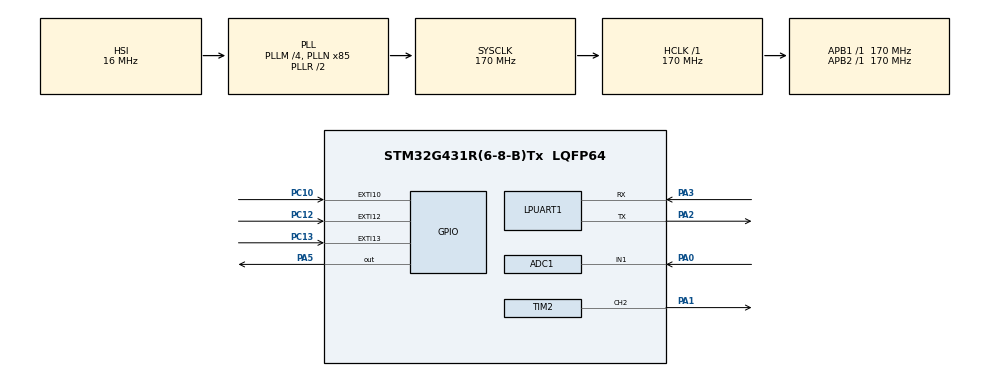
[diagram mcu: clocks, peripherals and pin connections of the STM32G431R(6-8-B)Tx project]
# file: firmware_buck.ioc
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ADC1.Channel-0\#ChannelRegularConversion=ADC_CHANNEL_1
ADC1.DMAContinuousRequests=ENABLE
ADC1.ExternalTrigConv=ADC_EXTERNALTRIG_T2_TRGO
ADC1.NbrOfConversionFlag=1
ADC1.OffsetNumber-0\#ChannelRegularConversion=ADC_OFFSET_NONE
ADC1.Rank-0\#ChannelRegularConversion=1
ADC1.SamplingTime-0\#ChannelRegularConversion=ADC_SAMPLETIME_2CYCLES_5
ADC1.master=1
Dma.ADC1.0.Direction=DMA_PERIPH_TO_MEMORY
Dma.ADC1.0.EventEnable=DISABLE
Dma.ADC1.0.Instance=DMA1_Channel1
Dma.ADC1.0.MemDataAlignment=DMA_MDATAALIGN_HALFWORD
Dma.ADC1.0.MemInc=DMA_MINC_ENABLE
Dma.ADC1.0.Mode=DMA_CIRCULAR
Dma.ADC1.0.PeriphDataAlignment=DMA_PDATAALIGN_HALFWORD
Dma.ADC1.0.PeriphInc=DMA_PINC_DISABLE
Dma.ADC1.0.Polarity=HAL_DMAMUX_REQ_GEN_RISING
Dma.ADC1.0.Priority=DMA_PRIORITY_LOW
Dma.ADC1.0.RequestNumber=1
Dma.ADC1.0.SignalID=NONE
Dma.ADC1.0.SyncEnable=DISABLE
Dma.ADC1.0.SyncPolarity=HAL_DMAMUX_SYNC_NO_EVENT
Dma.ADC1.0.SyncRequestNumber=1
Dma.ADC1.0.SyncSignalID=NONE
Dma.LPUART1_TX.2.Direction=DMA_MEMORY_TO_PERIPH
Dma.LPUART1_TX.2.EventEnable=DISABLE
Dma.LPUART1_TX.2.Instance=DMA1_Channel3
Dma.LPUART1_TX.2.MemDataAlignment=DMA_MDATAALIGN_BYTE
Dma.LPUART1_TX.2.MemInc=DMA_MINC_ENABLE
Dma.LPUART1_TX.2.Mode=DMA_NORMAL
Dma.LPUART1_TX.2.PeriphDataAlignment=DMA_PDATAALIGN_BYTE
Dma.LPUART1_TX.2.PeriphInc=DMA_PINC_DISABLE
Dma.LPUART1_TX.2.Polarity=HAL_DMAMUX_REQ_GEN_RISING
Dma.LPUART1_TX.2.Priority=DMA_PRIORITY_LOW
Dma.LPUART1_TX.2.RequestNumber=1
Dma.LPUART1_TX.2.SignalID=NONE
Dma.LPUART1_TX.2.SyncEnable=DISABLE
Dma.LPUART1_TX.2.SyncPolarity=HAL_DMAMUX_SYNC_NO_EVENT
Dma.LPUART1_TX.2.SyncRequestNumber=1
Dma.LPUART1_TX.2.SyncSignalID=NONE
Dma.Request0=ADC1
Dma.Request1=TIM2_CH2
Dma.Request2=LPUART1_TX
Dma.TIM2_CH2.1.Direction=DMA_MEMORY_TO_PERIPH
Dma.TIM2_CH2.1.EventEnable=DISABLE
Dma.TIM2_CH2.1.Instance=DMA1_Channel2
Dma.TIM2_CH2.1.MemDataAlignment=DMA_MDATAALIGN_WORD
Dma.TIM2_CH2.1.MemInc=DMA_MINC_ENABLE
Dma.TIM2_CH2.1.Mode=DMA_CIRCULAR
Dma.TIM2_CH2.1.PeriphDataAlignment=DMA_PDATAALIGN_WORD
Dma.TIM2_CH2.1.PeriphInc=DMA_PINC_DISABLE
Dma.TIM2_CH2.1.Polarity=HAL_DMAMUX_REQ_GEN_RISING
Dma.TIM2_CH2.1.Priority=DMA_PRIORITY_LOW
Dma.TIM2_CH2.1.RequestNumber=1
Dma.TIM2_CH2.1.SignalID=NONE
Dma.TIM2_CH2.1.SyncEnable=DISABLE
Dma.TIM2_CH2.1.SyncPolarity=HAL_DMAMUX_SYNC_NO_EVENT
Dma.TIM2_CH2.1.SyncRequestNumber=1
Dma.TIM2_CH2.1.SyncSignalID=NONE
FREERTOS.INCLUDE_vTaskDelayUntil=1
FREERTOS.Tasks01=PID,0,128,PIDTask,Default,NULL,Dynamic,NULL,NULL
FREERTOS.configENABLE_FPU=1
FREERTOS.configTOTAL_HEAP_SIZE=12288
FREERTOS.configUSE_IDLE_HOOK=1
FREERTOS.configUSE_NEWLIB_REENTRANT=1
FREERTOS.configUSE_TIMERS=1
Mcu.Family=STM32G4
Mcu.Name=STM32G431R(6-8-B)Tx
Mcu.Package=LQFP64
NVIC.DMA1_Channel1_IRQn=true\:5\:0\:false\:false\:true\:true\:false\:true\:true
NVIC.DMA1_Channel2_IRQn=true\:5\:0\:false\:false\:true\:true\:false\:true\:true
NVIC.DMA1_Channel3_IRQn=true\:5\:0\:false\:false\:true\:true\:false\:true\:true
NVIC.EXTI15_10_IRQn=true\:5\:0\:false\:false\:true\:true\:true\:true\:true
NVIC.PriorityGroup=NVIC_PRIORITYGROUP_4
NVIC.TIM1_TRG_COM_TIM17_IRQn=true\:5\:0\:false\:false\:true\:false\:false\:true\:true
NVIC.TIM2_IRQn=true\:5\:0\:false\:false\:true\:true\:true\:true\:true
NVIC.TimeBase=TIM1_TRG_COM_TIM17_IRQn
NVIC.TimeBaseIP=TIM17
PA0.Mode=IN1-Single-Ended
PA0.Signal=ADC1_IN1
PA1.Signal=S_TIM2_CH2
PA13.Mode=Serial_Wire
PA13.Signal=SYS_JTMS-SWDIO
PA14.Mode=Serial_Wire
PA14.Signal=SYS_JTCK-SWCLK
PA2.Mode=Asynchronous
PA2.Signal=LPUART1_TX
PA3.Mode=Asynchronous
PA3.Signal=LPUART1_RX
PA5.Signal=GPIO_Output
PC10.Signal=GPXTI10
PC12.Signal=GPXTI12
PC13.Signal=GPXTI13
PF0-OSC_IN.Mode=HSE-External-Oscillator
PF0-OSC_IN.Signal=RCC_OSC_IN
PF1-OSC_OUT.Mode=HSE-External-Oscillator
PF1-OSC_OUT.Signal=RCC_OSC_OUT
ProjectManager.HeapSize=0x200
ProjectManager.StackSize=0x400
ProjectManager.TargetToolchain=STM32CubeIDE
RCC.ADC12Freq_Value=170000000
RCC.AHBFreq_Value=170000000
RCC.APB1Freq_Value=170000000
RCC.APB1TimFreq_Value=170000000
RCC.APB2Freq_Value=170000000
RCC.APB2TimFreq_Value=170000000
RCC.CortexFreq_Value=170000000
RCC.EXTERNAL_CLOCK_VALUE=12288000
RCC.HCLKFreq_Value=170000000
RCC.HSE_VALUE=24000000
RCC.HSI48_VALUE=48000000
RCC.HSI_VALUE=16000000
RCC.LSE_VALUE=32768
RCC.PLLM=RCC_PLLM_DIV4
RCC.PLLN=85
RCC.SYSCLKFreq_VALUE=170000000
RCC.SYSCLKSource=RCC_SYSCLKSOURCE_PLLCLK
RCC.USBFreq_Value=170000000
RCC.VCOOutputFreq_Value=340000000
SH.S_TIM2_CH2.0=TIM2_CH2,PWM Generation2 CH2
TIM2.Channel-PWM\ Generation2\ CH2=TIM_CHANNEL_2
TIM2.PeriodNoDither=17000-1
TIM2.TIM_MasterOutputTrigger=TIM_TRGO_UPDATE
VP_FREERTOS_VS_CMSIS_V1.Mode=CMSIS_V1
VP_SYS_VS_DBSignals.Mode=DisableDeadBatterySignals
VP_SYS_VS_tim17.Mode=TIM17
VP_TIM2_VS_ClockSourceINT.Mode=Internal
board=custom

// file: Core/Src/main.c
/* USER CODE BEGIN Header */
/**
 * Frequencia de chaveamento: 10 kHz
 * Frequencia do micro: 170 Mhz
 * Contador: 17000
 */
/* USER CODE END Header */
#include "main.h"
#include "cmsis_os.h"

/* USER CODE BEGIN Includes */
#include "led.h"
#include "pid.h"
#include "wave_table.h"
#include "datalogger.h"
/* USER CODE END Includes */

/* USER CODE BEGIN PD */
#define MAX_VOLTAGE 30
//#define ADC_V_CVT 0.00080566406f // (3.3 / 4095)
#define BUCK_CVT_FACTOR 0.00732421872 // ((MAX_VOLTAGE / 3.3f) * ADC_V_CVT)
#define TIMER_COUNT 17000
#define Kp 0.09f
#define Ki 0.2f
#define Kd 0.05f
/* USER CODE END PD */

ADC_HandleTypeDef hadc1;
DMA_HandleTypeDef hdma_adc1;

UART_HandleTypeDef hlpuart1;
DMA_HandleTypeDef hdma_lpuart1_tx;

TIM_HandleTypeDef htim2;
DMA_HandleTypeDef hdma_tim2_ch2;

osThreadId PIDHandle;
/* USER CODE BEGIN PV */
// buffers para o DMA
uint16_t adc1_buffer;
volatile uint16_t duty_cycle_buffer;

// semaforos e mutex's
SemaphoreHandle_t sem_adc1 = NULL;

// software timers para debounce e suas variaveis auxiliares
TimerHandle_t btn_c13_c12_c10_debounce;
uint16_t btn_GPIO_Pin; // buffer para saber qual botão causou a interrupção

// handlers (Filtros, Seletores, Controle, ...)
WaveformCtrl waveform_selector;
PIDController pid_controller;
Datalogger datalogger;

// variaveis globais
volatile float buck_output;
volatile float reference;
led_t led_75 = { 75, GPIO_PIN_5, GPIOA };
/* USER CODE END PV */

void SystemClock_Config(void);
static void MX_GPIO_Init(void);
static void MX_DMA_Init(void);
static void MX_TIM2_Init(void);
static void MX_ADC1_Init(void);
static void MX_LPUART1_UART_Init(void);
void PIDTask(void const * argument);

/* USER CODE BEGIN PFP */

void vApplicationIdleHook(void)
{
	// FreeRTOS config param: USE_IDLE_HOOK enable
    // Wait For Interrupt
    // garante que acorda via ADC, UART, EXTI, etc
    __WFI();   // CPU entra em sleep até próxima interrupção
}

void HAL_ADC_ConvCpltCallback(ADC_HandleTypeDef *hadc) {
	// Ao ler AD abre o semaforo para a tarefa de PID
	BaseType_t xHigherPriorityTaskWoken = pdFALSE;
	xSemaphoreGiveFromISR(sem_adc1, &xHigherPriorityTaskWoken);
	portYIELD_FROM_ISR(xHigherPriorityTaskWoken);
}

void HAL_GPIO_EXTI_Callback(uint16_t GPIO_Pin)
{
	const uint16_t mask_pins = GPIO_PIN_13 | GPIO_PIN_12 | GPIO_PIN_10;
    BaseType_t pxHigherPriorityTaskWoken = pdFALSE;
    HAL_NVIC_DisableIRQ(EXTI15_10_IRQn);

    if (GPIO_Pin & mask_pins)
    {
    	btn_GPIO_Pin = GPIO_Pin;
    	xTimerStartFromISR(btn_c13_c12_c10_debounce, &pxHigherPriorityTaskWoken);
    }
    else
    {
    	HAL_NVIC_EnableIRQ(EXTI15_10_IRQn);
    }

    portYIELD_FROM_ISR(pxHigherPriorityTaskWoken);
}

void btn_c13_c12_c10_callback(TimerHandle_t xTimer)
{
	uint16_t *gpio_pin = (uint16_t*)pvTimerGetTimerID(xTimer);

	switch (*gpio_pin)
	{
		case GPIO_PIN_13:
		{
			pid_reset(&pid_controller);
			waveform_next_wave(&waveform_selector);
			break;
		}
		case GPIO_PIN_12:
		{
			waveform_update_amplitude(&waveform_selector, -1);
			break;
		}
		case GPIO_PIN_10:
		{
			waveform_update_amplitude(&waveform_selector, 1);
			break;
		}
		default:
			break;
	}

	HAL_NVIC_EnableIRQ(EXTI15_10_IRQn);  // Reabilita interrupções
}

void datalogger_fetch_values(uint8_t **data, size_t *size)
{
    static uint8_t buffer[10]; // 2 bytes + 4 bytes + 4 bytes = 10 bytes

    uint16_t dc = duty_cycle_buffer;
    float out = buck_output;
    float ref = reference;

    memcpy(&buffer[0], &dc,  sizeof(dc));
    memcpy(&buffer[2], &out, sizeof(out));
    memcpy(&buffer[6], &ref, sizeof(ref));

    *data = buffer;
    *size = sizeof(buffer);
}

/* USER CODE END PFP */

int main(void)
{

  /* MCU Configuration--------------------------------------------------------*/

  /* Reset of all peripherals, Initializes the Flash interface and the Systick. */
  HAL_Init();

  /* USER CODE BEGIN Init */
  waveform_init(&waveform_selector, MAX_VOLTAGE);
  pid_init(&pid_controller, Kp, Ki, Kd, TIMER_COUNT, MAX_VOLTAGE);
  datalogger_init(&datalogger, &hlpuart1, 32, 100, datalogger_fetch_values);
  /* USER CODE END Init */

  /* Configure the system clock */
  SystemClock_Config();

  /* Initialize all configured peripherals */
  MX_GPIO_Init();
  MX_DMA_Init();
  MX_TIM2_Init();
  MX_ADC1_Init();
  MX_LPUART1_UART_Init();
  /* USER CODE BEGIN 2 */
  HAL_ADCEx_Calibration_Start(&hadc1, ADC_SINGLE_ENDED);
  HAL_ADC_Start_DMA(&hadc1, (uint32_t*)&adc1_buffer, 1);
  HAL_TIM_PWM_Start_DMA(&htim2, TIM_CHANNEL_2, (uint32_t*)&duty_cycle_buffer, 1);
  HAL_TIM_Base_Start(&htim2);
  /* USER CODE END 2 */

  /* USER CODE BEGIN RTOS_SEMAPHORES */
  sem_adc1 = xSemaphoreCreateBinary();
  /* USER CODE END RTOS_SEMAPHORES */

  /* USER CODE BEGIN RTOS_TIMERS */
  /* start timers, add new ones, ... */
  btn_c13_c12_c10_debounce = xTimerCreate("BTNC13-12-10", 50, pdFALSE, (void*)&btn_GPIO_Pin, btn_c13_c12_c10_callback);
  /* USER CODE END RTOS_TIMERS */

  /* Create the thread(s) */
  /* definition and creation of PID */
  osThreadDef(PID, PIDTask, osPriorityNormal, 0, 128);
  PIDHandle = osThreadCreate(osThread(PID), NULL);

  /* USER CODE BEGIN RTOS_THREADS */
  /* add threads, ... */
  xTaskCreate(led_task, "LED75", 128, &led_75, 4, NULL);
  xTaskCreate(datalogger_task, "DATALOGGER", 256, &datalogger, 4, NULL);
  /* USER CODE END RTOS_THREADS */

  /* Start scheduler */
  osKernelStart();

  /* We should never get here as control is now taken by the scheduler */

  /* Infinite loop */
  while (1)
  {

  }
}

void SystemClock_Config(void)
{
  RCC_OscInitTypeDef RCC_OscInitStruct = {0};
  RCC_ClkInitTypeDef RCC_ClkInitStruct = {0};

  /** Configure the main internal regulator output voltage
  */
  HAL_PWREx_ControlVoltageScaling(PWR_REGULATOR_VOLTAGE_SCALE1_BOOST);

  /** Initializes the RCC Oscillators according to the specified parameters
  * in the RCC_OscInitTypeDef structure.
  */
  RCC_OscInitStruct.OscillatorType = RCC_OSCILLATORTYPE_HSI;
  RCC_OscInitStruct.HSIState = RCC_HSI_ON;
  RCC_OscInitStruct.HSICalibrationValue = RCC_HSICALIBRATION_DEFAULT;
  RCC_OscInitStruct.PLL.PLLState = RCC_PLL_ON;
  RCC_OscInitStruct.PLL.PLLSource = RCC_PLLSOURCE_HSI;
  RCC_OscInitStruct.PLL.PLLM = RCC_PLLM_DIV4;
  RCC_OscInitStruct.PLL.PLLN = 85;
  RCC_OscInitStruct.PLL.PLLP = RCC_PLLP_DIV2;
  RCC_OscInitStruct.PLL.PLLQ = RCC_PLLQ_DIV2;
  RCC_OscInitStruct.PLL.PLLR = RCC_PLLR_DIV2;
  if (HAL_RCC_OscConfig(&RCC_OscInitStruct) != HAL_OK)
  {
    Error_Handler();
  }

  /** Initializes the CPU, AHB and APB buses clocks
  */
  RCC_ClkInitStruct.ClockType = RCC_CLOCKTYPE_HCLK|RCC_CLOCKTYPE_SYSCLK
                              |RCC_CLOCKTYPE_PCLK1|RCC_CLOCKTYPE_PCLK2;
  RCC_ClkInitStruct.SYSCLKSource = RCC_SYSCLKSOURCE_PLLCLK;
  RCC_ClkInitStruct.AHBCLKDivider = RCC_SYSCLK_DIV1;
  RCC_ClkInitStruct.APB1CLKDivider = RCC_HCLK_DIV1;
  RCC_ClkInitStruct.APB2CLKDivider = RCC_HCLK_DIV1;

  if (HAL_RCC_ClockConfig(&RCC_ClkInitStruct, FLASH_LATENCY_4) != HAL_OK)
  {
    Error_Handler();
  }
}

static void MX_ADC1_Init(void)
{

  ADC_MultiModeTypeDef multimode = {0};
  ADC_ChannelConfTypeDef sConfig = {0};

  /** Common config
  */
  hadc1.Instance = ADC1;
  hadc1.Init.ClockPrescaler = ADC_CLOCK_SYNC_PCLK_DIV4;
  hadc1.Init.Resolution = ADC_RESOLUTION_12B;
  hadc1.Init.DataAlign = ADC_DATAALIGN_RIGHT;
  hadc1.Init.GainCompensation = 0;
  hadc1.Init.ScanConvMode = ADC_SCAN_DISABLE;
  hadc1.Init.EOCSelection = ADC_EOC_SINGLE_CONV;
  hadc1.Init.LowPowerAutoWait = DISABLE;
  hadc1.Init.ContinuousConvMode = DISABLE;
  hadc1.Init.NbrOfConversion = 1;
  hadc1.Init.DiscontinuousConvMode = DISABLE;
  hadc1.Init.ExternalTrigConv = ADC_EXTERNALTRIG_T2_TRGO;
  hadc1.Init.ExternalTrigConvEdge = ADC_EXTERNALTRIGCONVEDGE_RISING;
  hadc1.Init.DMAContinuousRequests = ENABLE;
  hadc1.Init.Overrun = ADC_OVR_DATA_PRESERVED;
  hadc1.Init.OversamplingMode = DISABLE;
  if (HAL_ADC_Init(&hadc1) != HAL_OK)
  {
    Error_Handler();
  }

  /** Configure the ADC multi-mode
  */
  multimode.Mode = ADC_MODE_INDEPENDENT;
  if (HAL_ADCEx_MultiModeConfigChannel(&hadc1, &multimode) != HAL_OK)
  {
    Error_Handler();
  }

  /** Configure Regular Channel
  */
  sConfig.Channel = ADC_CHANNEL_1;
  sConfig.Rank = ADC_REGULAR_RANK_1;
  sConfig.SamplingTime = ADC_SAMPLETIME_2CYCLES_5;
  sConfig.SingleDiff = ADC_SINGLE_ENDED;
  sConfig.OffsetNumber = ADC_OFFSET_NONE;
  sConfig.Offset = 0;
  if (HAL_ADC_ConfigChannel(&hadc1, &sConfig) != HAL_OK)
  {
    Error_Handler();
  }

}

static void MX_LPUART1_UART_Init(void)
{

  hlpuart1.Instance = LPUART1;
  hlpuart1.Init.BaudRate = 209700;
  hlpuart1.Init.WordLength = UART_WORDLENGTH_8B;
  hlpuart1.Init.StopBits = UART_STOPBITS_1;
  hlpuart1.Init.Parity = UART_PARITY_NONE;
  hlpuart1.Init.Mode = UART_MODE_TX_RX;
  hlpuart1.Init.HwFlowCtl = UART_HWCONTROL_NONE;
  hlpuart1.Init.OneBitSampling = UART_ONE_BIT_SAMPLE_DISABLE;
  hlpuart1.Init.ClockPrescaler = UART_PRESCALER_DIV1;
  hlpuart1.AdvancedInit.AdvFeatureInit = UART_ADVFEATURE_NO_INIT;
  if (HAL_UART_Init(&hlpuart1) != HAL_OK)
  {
    Error_Handler();
  }
  if (HAL_UARTEx_SetTxFifoThreshold(&hlpuart1, UART_TXFIFO_THRESHOLD_1_8) != HAL_OK)
  {
    Error_Handler();
  }
  if (HAL_UARTEx_SetRxFifoThreshold(&hlpuart1, UART_RXFIFO_THRESHOLD_1_8) != HAL_OK)
  {
    Error_Handler();
  }
  if (HAL_UARTEx_DisableFifoMode(&hlpuart1) != HAL_OK)
  {
    Error_Handler();
  }

}

static void MX_TIM2_Init(void)
{

  TIM_ClockConfigTypeDef sClockSourceConfig = {0};
  TIM_MasterConfigTypeDef sMasterConfig = {0};
  TIM_OC_InitTypeDef sConfigOC = {0};

  htim2.Instance = TIM2;
  htim2.Init.Prescaler = 0;
  htim2.Init.CounterMode = TIM_COUNTERMODE_UP;
  htim2.Init.Period = 16999;
  htim2.Init.ClockDivision = TIM_CLOCKDIVISION_DIV1;
  htim2.Init.AutoReloadPreload = TIM_AUTORELOAD_PRELOAD_DISABLE;
  if (HAL_TIM_Base_Init(&htim2) != HAL_OK)
  {
    Error_Handler();
  }
  sClockSourceConfig.ClockSource = TIM_CLOCKSOURCE_INTERNAL;
  if (HAL_TIM_ConfigClockSource(&htim2, &sClockSourceConfig) != HAL_OK)
  {
    Error_Handler();
  }
  if (HAL_TIM_PWM_Init(&htim2) != HAL_OK)
  {
    Error_Handler();
  }
  sMasterConfig.MasterOutputTrigger = TIM_TRGO_UPDATE;
  sMasterConfig.MasterSlaveMode = TIM_MASTERSLAVEMODE_DISABLE;
  if (HAL_TIMEx_MasterConfigSynchronization(&htim2, &sMasterConfig) != HAL_OK)
  {
    Error_Handler();
  }
  sConfigOC.OCMode = TIM_OCMODE_PWM1;
  sConfigOC.Pulse = 0;
  sConfigOC.OCPolarity = TIM_OCPOLARITY_HIGH;
  sConfigOC.OCFastMode = TIM_OCFAST_DISABLE;
  if (HAL_TIM_PWM_ConfigChannel(&htim2, &sConfigOC, TIM_CHANNEL_2) != HAL_OK)
  {
    Error_Handler();
  }
  HAL_TIM_MspPostInit(&htim2);

}

static void MX_DMA_Init(void)
{

  /* DMA controller clock enable */
  __HAL_RCC_DMAMUX1_CLK_ENABLE();
  __HAL_RCC_DMA1_CLK_ENABLE();

  /* DMA interrupt init */
  /* DMA1_Channel1_IRQn interrupt configuration */
  HAL_NVIC_SetPriority(DMA1_Channel1_IRQn, 5, 0);
  HAL_NVIC_EnableIRQ(DMA1_Channel1_IRQn);
  /* DMA1_Channel2_IRQn interrupt configuration */
  HAL_NVIC_SetPriority(DMA1_Channel2_IRQn, 5, 0);
  HAL_NVIC_EnableIRQ(DMA1_Channel2_IRQn);
  /* DMA1_Channel3_IRQn interrupt configuration */
  HAL_NVIC_SetPriority(DMA1_Channel3_IRQn, 5, 0);
  HAL_NVIC_EnableIRQ(DMA1_Channel3_IRQn);

}

static void MX_GPIO_Init(void)
{
  GPIO_InitTypeDef GPIO_InitStruct = {0};

  /* GPIO Ports Clock Enable */
  __HAL_RCC_GPIOC_CLK_ENABLE();
  __HAL_RCC_GPIOF_CLK_ENABLE();
  __HAL_RCC_GPIOA_CLK_ENABLE();

  /*Configure GPIO pin Output Level */
  HAL_GPIO_WritePin(GPIOA, GPIO_PIN_5, GPIO_PIN_RESET);

  /*Configure GPIO pins : PC13 PC10 PC12 */
  GPIO_InitStruct.Pin = GPIO_PIN_13|GPIO_PIN_10|GPIO_PIN_12;
  GPIO_InitStruct.Mode = GPIO_MODE_IT_RISING;
  GPIO_InitStruct.Pull = GPIO_NOPULL;
  HAL_GPIO_Init(GPIOC, &GPIO_InitStruct);

  /*Configure GPIO pin : PA5 */
  GPIO_InitStruct.Pin = GPIO_PIN_5;
  GPIO_InitStruct.Mode = GPIO_MODE_OUTPUT_PP;
  GPIO_InitStruct.Pull = GPIO_NOPULL;
  GPIO_InitStruct.Speed = GPIO_SPEED_FREQ_LOW;
  HAL_GPIO_Init(GPIOA, &GPIO_InitStruct);

  /* EXTI interrupt init*/
  HAL_NVIC_SetPriority(EXTI15_10_IRQn, 5, 0);
  HAL_NVIC_EnableIRQ(EXTI15_10_IRQn);

}

void PIDTask(void const * argument)
{
  /* USER CODE BEGIN 5 */
  /* Infinite loop */
  for(;;)
  {
	xSemaphoreTake(sem_adc1, portMAX_DELAY);

	buck_output = adc1_buffer * BUCK_CVT_FACTOR;
	waveform_get_sample(&waveform_selector, &reference);
	pid_compute(&pid_controller, &reference, &buck_output, &duty_cycle_buffer);
  }
  /* USER CODE END 5 */
}

void HAL_TIM_PeriodElapsedCallback(TIM_HandleTypeDef *htim)
{
  if (htim->Instance == TIM17)
  {
    HAL_IncTick();
  }
}

void Error_Handler(void)
{
  __disable_irq();
  while (1)
  {
  }
}
